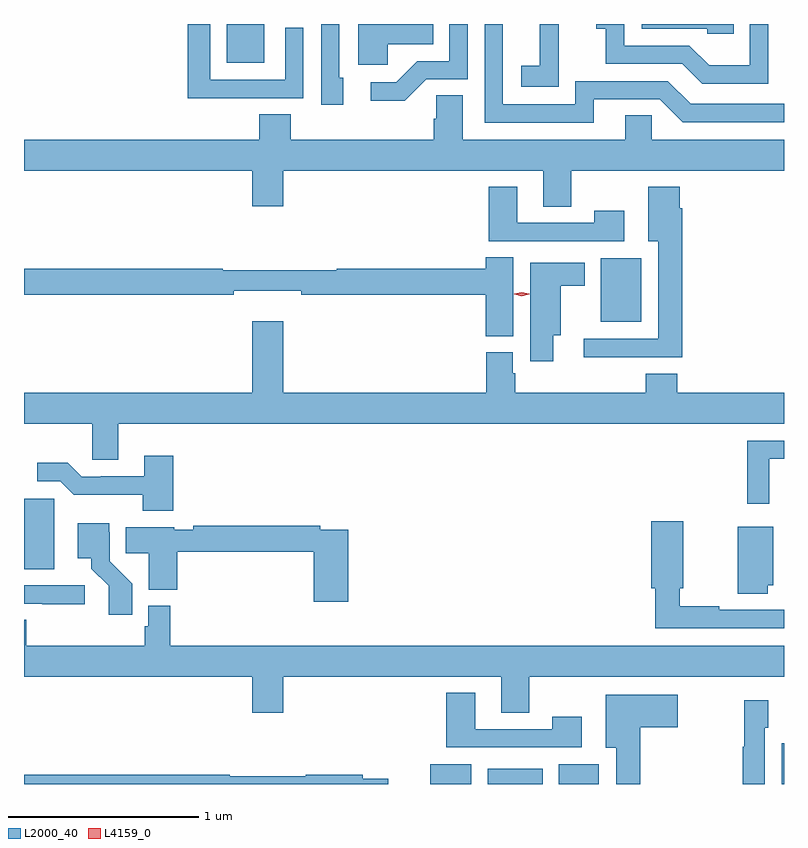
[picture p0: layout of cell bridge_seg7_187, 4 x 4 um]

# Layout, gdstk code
import gdstk
lib = gdstk.Library(unit=1e-6, precision=1e-09)
def R(c, l, rs):  # rectangles x0, y0, x1, y1
    for r in rs: c.add(gdstk.rectangle(r[:2], r[2:], *l))
def P(c, l, *ps):  # polygons
    for p in ps: c.add(gdstk.Polygon(p, *l))
L2000_40 = (2000, 40)
L4159_0 = (4159, 0)

bridge_seg7_187 = lib.new_cell('bridge_seg7_187')
R(bridge_seg7_187, L2000_40, [(381.731,1008.044,381.946,1008.148), (382.034,1008.044,382.321,1008.124), (382.406,1008.044,382.618,1008.148), (383.579,1008.044,383.592,1008.259), (379.592,1009.174,379.75,1009.545), (382.628,1010.477,382.84,1010.812)])
P(bridge_seg7_187, L2000_40, [(383.327,1012.044),(382.842,1012.044),(382.842,1012.02),(383.187,1012.02),(383.187,1011.993),(383.327,1011.993)],
  [(382.591,1011.648),(382.938,1011.648),(383.058,1011.528),(383.592,1011.528),(383.592,1011.624),(383.1,1011.624),(382.98,1011.744),(382.494,1011.744),(382.494,1011.621),(382.113,1011.621),(382.113,1012.044),(382.017,1012.044),(382.017,1011.525),(382.591,1011.525)],
  [(381.271,1011.762),(381.252,1011.762),(381.252,1012.044),(381.156,1012.044),(381.156,1011.618),(381.271,1011.618)],
  [(380.747,1011.654),(381.063,1011.654),(381.063,1012.024),(380.967,1012.024),(380.967,1011.75),(380.571,1011.75),(380.571,1012.044),(380.455,1012.044),(380.455,1011.653),(380.747,1011.653)],
  [(382.407,1011.919),(382.406,1011.919),(382.406,1012.044),(382.307,1012.044),(382.307,1011.823),(382.209,1011.823),(382.209,1011.713),(382.407,1011.713)],
  [(383.508,1012.044),(383.412,1012.044),(383.412,1011.826),(383.198,1011.826),(383.094,1011.93),(382.752,1011.93),(382.752,1012.044),(382.605,1012.044),(382.605,1012.019),(382.654,1012.019),(382.654,1011.834),(383.057,1011.834),(383.162,1011.729),(383.508,1011.729)],
  [(380.857,1012.044),(380.699,1012.044),(380.699,1012.042),(380.66,1012.042),(380.66,1011.839),(380.857,1011.839)],
  [(381.708,1011.753),(381.927,1011.753),(381.927,1012.044),(381.831,1012.044),(381.831,1011.849),(381.662,1011.849),(381.551,1011.738),(381.417,1011.738),(381.417,1011.641),(381.595,1011.641)],
  [(381.507,1011.938),(381.746,1011.938),(381.746,1012.042),(381.35,1012.042),(381.35,1011.83),(381.507,1011.83)],
  [(382.473,1011.272),(383.592,1011.272),(383.592,1011.436),(382.896,1011.436),(382.896,1011.563),(382.757,1011.563),(382.757,1011.436),(381.901,1011.436),(381.901,1011.668),(381.762,1011.668),(381.762,1011.545),(381.749,1011.545),(381.749,1011.436),(380.996,1011.436),(380.996,1011.569),(380.831,1011.569),(380.831,1011.436),(379.592,1011.436),(379.592,1011.272),(380.792,1011.272),(380.792,1011.084),(380.956,1011.084),(380.956,1011.272),(382.325,1011.272),(382.325,1011.082),(382.473,1011.082)],
  [(382.75,1011.061),(382.594,1011.061),(382.594,1010.997),(382.189,1010.997),(382.189,1011.187),(382.037,1011.187),(382.037,1010.901),(382.75,1010.901)],
  [(383.057,1011.074),(383.044,1011.074),(383.044,1011.187),(382.877,1011.187),(382.877,1010.9),(382.931,1010.9),(382.931,1010.388),(382.539,1010.388),(382.539,1010.291),(383.057,1010.291)],
  [(382.168,1010.816),(382.022,1010.816),(382.022,1010.756),(381.238,1010.756),(381.238,1010.749),(380.638,1010.749),(380.638,1010.756),(379.592,1010.756),(379.592,1010.62),(380.696,1010.62),(380.696,1010.639),(381.052,1010.639),(381.052,1010.62),(382.022,1010.62),(382.022,1010.401),(382.168,1010.401)],
  [(382.378,1010.405),(382.417,1010.405),(382.417,1010.666),(382.543,1010.666),(382.543,1010.788),(382.256,1010.788),(382.256,1010.268),(382.378,1010.268)],
  [(380.089,1009.94),(383.592,1009.94),(383.592,1010.104),(383.03,1010.104),(383.03,1010.203),(382.865,1010.203),(382.865,1010.104),(382.178,1010.104),(382.178,1010.205),(382.165,1010.205),(382.165,1010.316),(382.025,1010.316),(382.025,1010.104),(380.956,1010.104),(380.956,1010.479),(380.792,1010.479),(380.792,1010.104),(379.592,1010.104),(379.592,1009.94),(379.95,1009.94),(379.95,1009.75),(380.089,1009.75)],
  [(383.514,1009.755),(383.592,1009.755),(383.592,1009.851),(383.398,1009.851),(383.398,1009.518),(383.514,1009.518)],
  [(380.378,1009.771),(380.225,1009.771),(380.225,1009.665),(379.996,1009.665),(379.996,1009.662),(379.896,1009.662),(379.823,1009.735),(379.662,1009.735),(379.662,1009.638),(379.782,1009.638),(379.855,1009.566),(380.218,1009.566),(380.218,1009.481),(380.378,1009.481)],
  [(383.592,1008.96),(383.252,1008.96),(383.252,1008.98),(383.044,1008.98),(383.044,1009.073),(383.062,1009.073),(383.062,1009.426),(382.892,1009.426),(382.892,1009.073),(382.915,1009.073),(382.915,1008.864),(383.592,1008.864)],
  [(380.162,1009.098),(380.043,1009.217),(380.043,1009.368),(380.041,1009.368),(380.041,1009.417),(379.874,1009.417),(379.874,1009.232),(379.946,1009.232),(379.946,1009.177),(380.037,1009.087),(380.037,1008.936),(380.162,1008.936)],
  [(381.299,1009.383),(381.152,1009.383),(381.152,1009.403),(380.482,1009.403),(380.482,1009.383),(380.382,1009.383),(380.382,1009.396),(380.128,1009.396),(380.128,1009.258),(380.249,1009.258),(380.249,1009.067),(380.399,1009.067),(380.399,1009.267),(381.116,1009.267),(381.116,1009.002),(381.299,1009.002)],
  [(383.506,1009.091),(383.536,1009.091),(383.536,1009.399),(383.348,1009.399),(383.348,1009.045),(383.506,1009.045)],
  [(379.912,1009.089),(379.592,1009.089),(379.592,1008.993),(379.687,1008.993),(379.687,1008.991),(379.912,1008.991)],
  [(382.251,1008.608),(383.592,1008.608),(383.592,1008.772),(380.363,1008.772),(380.363,1008.982),(380.247,1008.982),(380.247,1008.873),(380.227,1008.873),(380.227,1008.772),(379.604,1008.772),(379.604,1008.908),(379.592,1008.908),(379.592,1008.608),(380.792,1008.608),(380.792,1008.42),(380.956,1008.42),(380.956,1008.608),(382.103,1008.608),(382.103,1008.418),(382.251,1008.418)],
  [(382.528,1008.397),(382.372,1008.397),(382.372,1008.333),(381.967,1008.333),(381.967,1008.523),(381.815,1008.523),(381.815,1008.237),(382.528,1008.237)],
  [(382.835,1008.344),(383.032,1008.344),(383.032,1008.514),(382.655,1008.514),(382.655,1008.236),(382.709,1008.236),(382.709,1008.044),(382.835,1008.044)],
  [(383.49,1008.339),(383.509,1008.339),(383.509,1008.484),(383.382,1008.484),(383.382,1008.239),(383.374,1008.239),(383.374,1008.044),(383.49,1008.044)],
  [(381.508,1008.072),(381.374,1008.072),(381.374,1008.092),(381.074,1008.092),(381.074,1008.085),(380.674,1008.085),(380.674,1008.092),(379.592,1008.092),(379.592,1008.044),(381.508,1008.044)])
P(bridge_seg7_187, L4159_0, [(382.213,1010.612),(382.173,1010.622),(382.173,1010.622),(382.173,1010.623),(382.213,1010.632),(382.252,1010.623),(382.252,1010.622),(382.252,1010.622)])

lib.write_gds('bridge_seg7_187.gds')
